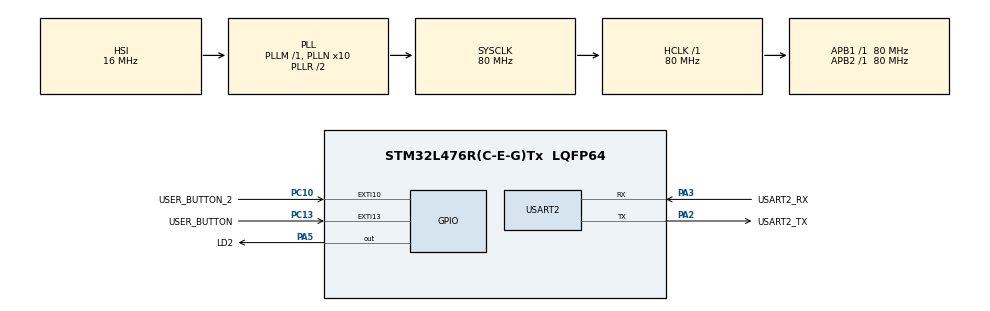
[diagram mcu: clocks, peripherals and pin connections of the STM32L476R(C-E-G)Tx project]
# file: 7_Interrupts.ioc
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Mcu.Family=STM32L4
Mcu.Name=STM32L476R(C-E-G)Tx
Mcu.Package=LQFP64
NVIC.EXTI15_10_IRQn=true\:2\:0\:true\:false\:true\:true\:true\:true
NVIC.PriorityGroup=NVIC_PRIORITYGROUP_4
NVIC.USART2_IRQn=true\:1\:0\:true\:false\:true\:true\:true\:true
PA13\ (JTMS-SWDIO).GPIO_Label=TMS
PA13\ (JTMS-SWDIO).Mode=Serial_Wire
PA13\ (JTMS-SWDIO).Signal=SYS_JTMS-SWDIO
PA14\ (JTCK-SWCLK).GPIO_Label=TCK
PA14\ (JTCK-SWCLK).Mode=Serial_Wire
PA14\ (JTCK-SWCLK).Signal=SYS_JTCK-SWCLK
PA2.GPIO_Label=USART2_TX
PA2.GPIO_Mode=GPIO_MODE_AF_PP
PA2.GPIO_PuPd=GPIO_NOPULL
PA2.GPIO_Speed=GPIO_SPEED_FREQ_VERY_HIGH
PA2.Mode=Asynchronous
PA2.Signal=USART2_TX
PA3.GPIO_Label=USART2_RX
PA3.GPIO_Mode=GPIO_MODE_AF_PP
PA3.GPIO_PuPd=GPIO_NOPULL
PA3.GPIO_Speed=GPIO_SPEED_FREQ_VERY_HIGH
PA3.Mode=Asynchronous
PA3.Signal=USART2_RX
PA5.GPIO_Label=LD2
PA5.GPIO_ModeDefaultOutputPP=GPIO_MODE_OUTPUT_PP
PA5.GPIO_PuPd=GPIO_NOPULL
PA5.GPIO_Speed=GPIO_SPEED_FREQ_LOW
PA5.Signal=GPIO_Output
PB3\ (JTDO-TRACESWO).GPIO_Label=SWO
PB3\ (JTDO-TRACESWO).Signal=SYS_JTDO-SWO
PC10.GPIO_Label=USER_BUTTON_2
PC10.GPIO_ModeDefaultEXTI=GPIO_MODE_IT_RISING
PC10.GPIO_PuPd=GPIO_NOPULL
PC10.Signal=GPXTI10
PC13.GPIO_Label=USER_BUTTON
PC13.Signal=GPXTI13
PC14-OSC32_IN\ (PC14).Mode=LSE-External-Oscillator
PC14-OSC32_IN\ (PC14).Signal=RCC_OSC32_IN
PC15-OSC32_OUT\ (PC15).Mode=LSE-External-Oscillator
PC15-OSC32_OUT\ (PC15).Signal=RCC_OSC32_OUT
PH0-OSC_IN\ (PH0).Signal=RCC_OSC_IN
PH1-OSC_OUT\ (PH1).Signal=RCC_OSC_OUT
ProjectManager.HeapSize=0x200
ProjectManager.StackSize=0x400
ProjectManager.TargetToolchain=STM32CubeIDE
RCC.ADCFreq_Value=64000000
RCC.AHBFreq_Value=80000000
RCC.APB1Freq_Value=80000000
RCC.APB1TimFreq_Value=80000000
RCC.APB2Freq_Value=80000000
RCC.APB2TimFreq_Value=80000000
RCC.CortexFreq_Value=80000000
RCC.HCLKFreq_Value=80000000
RCC.HSE_VALUE=8000000
RCC.HSI_VALUE=16000000
RCC.MSI_VALUE=4000000
RCC.PLLN=10
RCC.PLLSourceVirtual=RCC_PLLSOURCE_HSI
RCC.PREFETCH_ENABLE=1
RCC.SYSCLKFreq_VALUE=80000000
RCC.SYSCLKSource=RCC_SYSCLKSOURCE_PLLCLK
RCC.USBFreq_Value=64000000
RCC.VCOOutputFreq_Value=160000000
USART2.VirtualMode-Asynchronous=VM_ASYNC
board=NUCLEO-L476RG

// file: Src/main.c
/* USER CODE BEGIN Header */
/**
 ******************************************************************************
 * @file           : main.c
 * @brief          : Main program body
 ******************************************************************************
 * @attention
 *
 * Copyright (c) 2023 STMicroelectronics.
 * All rights reserved.
 *
 * This software is licensed under terms that can be found in the LICENSE file
 * in the root directory of this software component.
 * If no LICENSE file comes with this software, it is provided AS-IS.
 *
 ******************************************************************************
 */
/* USER CODE END Header */
#include "main.h"

/* USER CODE BEGIN Includes */
#include <stdio.h>
#include <string.h>
/* USER CODE END Includes */

/* USER CODE BEGIN PTD */
typedef enum
{
  MESSAGE_1,
  MESSAGE_2,
  DONE
} sender_state;
/* USER CODE END PTD */

/* USER CODE BEGIN PD */
#define LINE_MAX_LENGTH 80
/* USER CODE END PD */

UART_HandleTypeDef huart2;

/* USER CODE BEGIN PV */
volatile uint32_t push_counter_1 = 0;
volatile uint32_t push_counter_2 = 0;
UART_HandleTypeDef huart2;
sender_state message_number = MESSAGE_1;
static char line_buffer[LINE_MAX_LENGTH + 1];
static uint32_t line_length;
uint8_t uart_rx_buffer;
/* USER CODE END PV */

void SystemClock_Config(void);
static void MX_GPIO_Init(void);
static void MX_USART2_UART_Init(void);

/* USER CODE BEGIN 0 */

// Function for deal with exterior GPIO interrupt.
void HAL_GPIO_EXTI_Callback(uint16_t GPIO_Pin)
{
  if (GPIO_Pin == USER_BUTTON_Pin)
  {
    push_counter_1++;
  }
  else if (GPIO_Pin == USER_BUTTON_2_Pin)
  {
    push_counter_2++;
  }
}

// Function for sending data via uart.
int __io_putchar(int ch)
{
  if (ch == '\n')
  {
    __io_putchar('\r');
  }
  HAL_UART_Transmit(&huart2, (uint8_t *)&ch, 1, HAL_MAX_DELAY);
  return 1;
}

// Function for reciving data from uart.
void line_append(uint8_t value)
{
  if (value == '\r' || value == '\n')
  {
    // we picked up the end-of-line character
    if (line_length > 0)
    {
      // add 0 at the end of the line
      line_buffer[line_length] = '\0';
      // we start the data collection all over again
      line_length = 0;
    }
  }
  else
  {
    // too much data, we delete everything we have received so far
    if (line_length >= LINE_MAX_LENGTH)
    {
      line_length = 0;
    }
    // add the value to the buffer
    line_buffer[line_length++] = value;
  }
}
//Sending with interrupts
void send_next_message(void)
{
  static char message[] = "Hello World!\r\n";
  static char message2[] = "Hello!\r\n";

  switch (message_number)
  {
  case MESSAGE_1:
    HAL_UART_Transmit_IT(&huart2, (uint8_t *)message, strlen(message));
    message_number = 1;
    break;
  case MESSAGE_2:
    HAL_UART_Transmit_IT(&huart2, (uint8_t *)message2, strlen(message2));
    message_number = DONE;
    break;
  default:
    break;
  }
}

// Function that inform that UART stopped sending or reciving data.
void HAL_UART_TxCpltCallback(UART_HandleTypeDef *huart)
{
  if (huart == &huart2)
  {
    line_append(uart_rx_buffer);
    HAL_UART_Receive_IT(&huart2, &uart_rx_buffer, 1);
    send_next_message();
  }
}

/* USER CODE END 0 */

int main(void)
{

  /* MCU Configuration--------------------------------------------------------*/

  /* Reset of all peripherals, Initializes the Flash interface and the Systick. */
  HAL_Init();

  /* Configure the system clock */
  SystemClock_Config();

  /* Initialize all configured peripherals */
  MX_GPIO_Init();
  MX_USART2_UART_Init();
  /* USER CODE BEGIN 2 */
  send_next_message();
  /* USER CODE END 2 */

  /* Infinite loop */
  /* USER CODE BEGIN WHILE */
  uint32_t push_counter_1_old = push_counter_1;
  uint32_t push_counter_2_old = push_counter_2;
  while (1)
  {
    if (push_counter_1_old != push_counter_1) {
      push_counter_1_old = push_counter_1;
      printf("counter_1 = %lu\n", push_counter_1_old);
    }else if (push_counter_2_old != push_counter_2)
    {
      push_counter_2_old = push_counter_2;
      printf("counter_2 = %lu\n", push_counter_2_old);
    }

    /* USER CODE END WHILE */

  }
}

void SystemClock_Config(void)
{
  RCC_OscInitTypeDef RCC_OscInitStruct = {0};
  RCC_ClkInitTypeDef RCC_ClkInitStruct = {0};

  /** Configure the main internal regulator output voltage
  */
  if (HAL_PWREx_ControlVoltageScaling(PWR_REGULATOR_VOLTAGE_SCALE1) != HAL_OK)
  {
    Error_Handler();
  }

  /** Initializes the RCC Oscillators according to the specified parameters
  * in the RCC_OscInitTypeDef structure.
  */
  RCC_OscInitStruct.OscillatorType = RCC_OSCILLATORTYPE_HSI;
  RCC_OscInitStruct.HSIState = RCC_HSI_ON;
  RCC_OscInitStruct.HSICalibrationValue = RCC_HSICALIBRATION_DEFAULT;
  RCC_OscInitStruct.PLL.PLLState = RCC_PLL_ON;
  RCC_OscInitStruct.PLL.PLLSource = RCC_PLLSOURCE_HSI;
  RCC_OscInitStruct.PLL.PLLM = 1;
  RCC_OscInitStruct.PLL.PLLN = 10;
  RCC_OscInitStruct.PLL.PLLP = RCC_PLLP_DIV7;
  RCC_OscInitStruct.PLL.PLLQ = RCC_PLLQ_DIV2;
  RCC_OscInitStruct.PLL.PLLR = RCC_PLLR_DIV2;
  if (HAL_RCC_OscConfig(&RCC_OscInitStruct) != HAL_OK)
  {
    Error_Handler();
  }

  /** Initializes the CPU, AHB and APB buses clocks
  */
  RCC_ClkInitStruct.ClockType = RCC_CLOCKTYPE_HCLK|RCC_CLOCKTYPE_SYSCLK
                              |RCC_CLOCKTYPE_PCLK1|RCC_CLOCKTYPE_PCLK2;
  RCC_ClkInitStruct.SYSCLKSource = RCC_SYSCLKSOURCE_PLLCLK;
  RCC_ClkInitStruct.AHBCLKDivider = RCC_SYSCLK_DIV1;
  RCC_ClkInitStruct.APB1CLKDivider = RCC_HCLK_DIV1;
  RCC_ClkInitStruct.APB2CLKDivider = RCC_HCLK_DIV1;

  if (HAL_RCC_ClockConfig(&RCC_ClkInitStruct, FLASH_LATENCY_4) != HAL_OK)
  {
    Error_Handler();
  }
}

static void MX_USART2_UART_Init(void)
{

  huart2.Instance = USART2;
  huart2.Init.BaudRate = 115200;
  huart2.Init.WordLength = UART_WORDLENGTH_8B;
  huart2.Init.StopBits = UART_STOPBITS_1;
  huart2.Init.Parity = UART_PARITY_NONE;
  huart2.Init.Mode = UART_MODE_TX_RX;
  huart2.Init.HwFlowCtl = UART_HWCONTROL_NONE;
  huart2.Init.OverSampling = UART_OVERSAMPLING_16;
  huart2.Init.OneBitSampling = UART_ONE_BIT_SAMPLE_DISABLE;
  huart2.AdvancedInit.AdvFeatureInit = UART_ADVFEATURE_NO_INIT;
  if (HAL_UART_Init(&huart2) != HAL_OK)
  {
    Error_Handler();
  }

}

static void MX_GPIO_Init(void)
{
  GPIO_InitTypeDef GPIO_InitStruct = {0};

  /* GPIO Ports Clock Enable */
  __HAL_RCC_GPIOC_CLK_ENABLE();
  __HAL_RCC_GPIOH_CLK_ENABLE();
  __HAL_RCC_GPIOA_CLK_ENABLE();
  __HAL_RCC_GPIOB_CLK_ENABLE();

  /*Configure GPIO pin Output Level */
  HAL_GPIO_WritePin(LD2_GPIO_Port, LD2_Pin, GPIO_PIN_RESET);

  /*Configure GPIO pins : USER_BUTTON_Pin USER_BUTTON_2_Pin */
  GPIO_InitStruct.Pin = USER_BUTTON_Pin|USER_BUTTON_2_Pin;
  GPIO_InitStruct.Mode = GPIO_MODE_IT_RISING;
  GPIO_InitStruct.Pull = GPIO_NOPULL;
  HAL_GPIO_Init(GPIOC, &GPIO_InitStruct);

  /*Configure GPIO pin : LD2_Pin */
  GPIO_InitStruct.Pin = LD2_Pin;
  GPIO_InitStruct.Mode = GPIO_MODE_OUTPUT_PP;
  GPIO_InitStruct.Pull = GPIO_NOPULL;
  GPIO_InitStruct.Speed = GPIO_SPEED_FREQ_LOW;
  HAL_GPIO_Init(LD2_GPIO_Port, &GPIO_InitStruct);

  /* EXTI interrupt init*/
  HAL_NVIC_SetPriority(EXTI15_10_IRQn, 2, 0);
  HAL_NVIC_EnableIRQ(EXTI15_10_IRQn);

}

void Error_Handler(void)
{
  __disable_irq();
  while (1)
  {
  }
}
